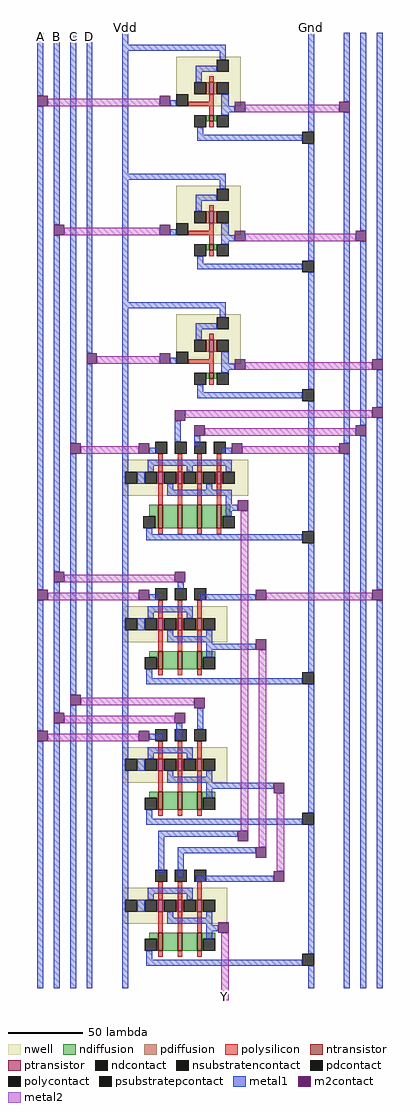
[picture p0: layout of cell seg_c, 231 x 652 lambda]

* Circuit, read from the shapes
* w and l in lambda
.subckt seg_c A B C D Gnd Vdd Y
M1 n1 n2 Gnd Gnd nfet w=12 l=3
M2 n3 A Gnd Gnd nfet w=12 l=3
M3 n4 A Gnd Gnd nfet w=12 l=3
M4 n5 C Gnd Gnd nfet w=16 l=3
M5 n6 n7 n1 Gnd nfet w=12 l=3
M6 n8 B n3 Gnd nfet w=12 l=3
M7 n9 B n4 Gnd nfet w=12 l=3
M8 n10 n11 n5 Gnd nfet w=16 l=3
M9 Y n12 n6 Gnd nfet w=12 l=3
M10 n12 C n8 Gnd nfet w=12 l=3
M11 n7 n11 n9 Gnd nfet w=12 l=3
M12 n13 n14 n10 Gnd nfet w=16 l=3
M13 n11 D Gnd Gnd nfet w=4 l=3
M14 n14 B Gnd Gnd nfet w=4 l=3
M15 n15 A Gnd Gnd nfet w=4 l=3
M16 n2 n15 n13 Gnd nfet w=16 l=3
M17 Y n2 Vdd Vdd pfet w=8 l=3
M18 n12 A Vdd Vdd pfet w=8 l=3
M19 n7 A Vdd Vdd pfet w=8 l=3
M20 n2 C Vdd Vdd pfet w=8 l=3
M21 Vdd n7 Y Vdd pfet w=8 l=3
M22 Vdd B n12 Vdd pfet w=8 l=3
M23 Vdd B n7 Vdd pfet w=8 l=3
M24 Vdd n11 n2 Vdd pfet w=8 l=3
M25 Y n12 Vdd Vdd pfet w=8 l=3
M26 n12 C Vdd Vdd pfet w=8 l=3
M27 n7 n11 Vdd Vdd pfet w=8 l=3
M28 n2 n14 Vdd Vdd pfet w=8 l=3
M29 n11 D Vdd Vdd pfet w=8 l=3
M30 n14 B Vdd Vdd pfet w=8 l=3
M31 n15 A Vdd Vdd pfet w=8 l=3
M32 Vdd n15 n2 Vdd pfet w=8 l=3
.ends

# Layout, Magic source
magic
tech tsmc
<< metal1 >>
rect 0 86 4 92
rect 124 86 128 92
rect -57 44 -53 86
rect -57 -286 -53 37
rect -46 -42 -42 86
rect -46 -274 -42 -49
rect -35 -188 -31 86
rect -24 -128 -20 86
rect 32 37 36 41
rect 148 40 152 86
rect 71 33 75 37
rect 32 -49 36 -45
rect 66 -53 75 -49
rect 32 -135 36 -131
rect -57 -380 -53 -293
rect -46 -368 -42 -281
rect -35 -356 -31 -195
rect -57 -552 -53 -387
rect -46 -552 -42 -375
rect -35 -552 -31 -363
rect -24 -552 -20 -135
rect 66 -139 75 -135
rect 35 -187 39 -173
rect 48 -190 52 -183
rect 148 -188 152 33
rect 159 -46 163 86
rect 159 -176 163 -53
rect 170 -132 174 86
rect 170 -164 174 -139
rect 18 -195 23 -191
rect 66 -195 73 -191
rect 72 -233 77 -229
rect 37 -286 41 -281
rect 18 -293 24 -289
rect 52 -293 89 -289
rect 59 -326 89 -322
rect 18 -386 27 -382
rect 36 -386 40 -375
rect 50 -379 54 -365
rect 60 -419 101 -415
rect 24 -451 77 -447
rect 24 -475 28 -451
rect 37 -462 89 -458
rect 37 -478 41 -462
rect 49 -481 101 -477
rect 56 -514 64 -510
rect 148 -552 152 -195
rect 159 -552 163 -183
rect 170 -286 174 -171
rect 170 -552 174 -293
<< m2contact >>
rect -57 37 -50 44
rect -46 -49 -39 -42
rect 25 37 32 44
rect 75 33 82 40
rect 145 33 152 40
rect 25 -49 32 -42
rect 75 -53 82 -46
rect -24 -135 -17 -128
rect 25 -135 32 -128
rect -35 -195 -28 -188
rect -46 -281 -39 -274
rect -57 -293 -50 -286
rect -35 -363 -28 -356
rect -46 -375 -39 -368
rect -57 -387 -50 -380
rect 75 -139 82 -132
rect 35 -173 42 -166
rect 48 -183 55 -176
rect 11 -195 18 -188
rect 156 -53 163 -46
rect 167 -139 174 -132
rect 167 -171 174 -164
rect 156 -183 163 -176
rect 73 -195 80 -188
rect 145 -195 152 -188
rect 77 -233 84 -226
rect 35 -281 42 -274
rect 11 -293 18 -286
rect 89 -293 96 -286
rect 89 -326 96 -319
rect 48 -365 55 -358
rect 35 -375 42 -368
rect 11 -387 18 -380
rect 101 -422 108 -415
rect 77 -454 84 -447
rect 89 -465 96 -458
rect 101 -481 108 -474
rect 64 -515 71 -508
rect 167 -293 174 -286
<< metal2 >>
rect -50 37 25 42
rect 82 33 145 38
rect -39 -49 25 -44
rect 82 -53 156 -48
rect -17 -135 25 -130
rect 82 -139 167 -134
rect 42 -171 167 -166
rect 55 -183 156 -178
rect -28 -195 11 -190
rect 80 -195 145 -190
rect -39 -281 35 -276
rect -50 -293 11 -288
rect -28 -363 48 -358
rect -39 -375 35 -370
rect -50 -387 11 -382
rect 79 -447 84 -233
rect 96 -293 167 -288
rect 91 -458 96 -326
rect 103 -474 108 -422
rect 66 -560 71 -515
use 1INV  1INV_0
transform 1 0 49 0 1 20
box -49 -20 79 66
use 1INV  1INV_1
transform 1 0 49 0 1 -66
box -49 -20 79 66
use 1INV  1INV_2
transform 1 0 49 0 1 -152
box -49 -20 79 66
use 4NAND  4NAND_0
transform 1 0 18 0 1 -215
box -18 -55 110 43
use 3NAND  3NAND_0
transform 1 0 18 0 1 -313
box -18 -51 110 43
use 3NAND  3NAND_1
transform 1 0 18 0 1 -407
box -18 -51 110 43
use 3NAND  3NAND_2
transform 1 0 18 0 1 -501
box -18 -51 110 43
<< labels >>
rlabel metal1 -57 81 -53 86 3 A
rlabel metal1 -46 81 -42 86 1 B
rlabel metal1 -35 81 -31 86 1 C
rlabel metal1 -24 81 -20 86 1 D
rlabel metal1 0 87 4 92 5 Vdd
rlabel metal1 124 87 128 92 5 Gnd
rlabel metal2 66 -560 71 -555 1 Y
<< end >>

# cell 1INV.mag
magic
tech tsmc
<< nwell >>
rect -13 17 30 50
<< ntransistor >>
rect 9 7 12 11
<< ptransistor >>
rect 9 25 12 33
<< ndiffusion >>
rect 7 7 9 11
rect 12 7 14 11
<< pdiffusion >>
rect 7 25 9 33
rect 12 25 14 33
<< ndcontact >>
rect -1 3 7 11
rect 14 3 22 11
<< pdcontact >>
rect -1 25 7 33
rect 14 25 22 33
<< psubstratepcontact >>
rect 71 -8 79 0
<< nsubstratencontact >>
rect 14 40 22 48
<< polysilicon >>
rect 9 33 12 37
rect 9 20 12 25
rect -5 17 12 20
rect 9 11 12 17
rect 9 3 12 7
<< polycontact >>
rect -13 17 -5 25
<< metal1 >>
rect -49 58 -45 66
rect -49 54 20 58
rect -49 -20 -45 54
rect 16 48 20 54
rect 0 40 14 44
rect 0 33 4 40
rect 17 11 22 25
rect 1 -2 5 3
rect 75 0 79 66
rect 1 -6 71 -2
rect 75 -20 79 -8
<< end >>

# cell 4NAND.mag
magic
tech tsmc
<< nwell >>
rect -18 -8 66 16
<< ntransistor >>
rect 6 -30 9 -14
rect 19 -30 22 -14
rect 32 -30 35 -14
rect 45 -30 48 -14
<< ptransistor >>
rect 6 0 9 8
rect 19 0 22 8
rect 32 0 35 8
rect 45 0 48 8
<< ndiffusion >>
rect 0 -22 6 -14
rect 4 -30 6 -22
rect 9 -30 19 -14
rect 22 -30 32 -14
rect 35 -30 45 -14
rect 48 -22 54 -14
rect 48 -30 49 -22
<< pdiffusion >>
rect 5 0 6 8
rect 9 0 10 8
rect 18 0 19 8
rect 22 0 23 8
rect 31 0 32 8
rect 35 0 36 8
rect 44 0 45 8
rect 48 0 49 8
<< ndcontact >>
rect -4 -30 4 -22
rect 49 -30 57 -22
<< pdcontact >>
rect -3 0 5 8
rect 10 0 18 8
rect 23 0 31 8
rect 36 0 44 8
rect 49 0 57 8
<< psubstratepcontact >>
rect 102 -40 110 -32
<< nsubstratencontact >>
rect -16 0 -8 8
<< polysilicon >>
rect 6 8 9 20
rect 19 8 22 20
rect 32 8 35 20
rect 45 8 48 20
rect 6 -14 9 0
rect 19 -14 22 0
rect 32 -14 35 0
rect 45 -14 48 0
rect 6 -34 9 -30
rect 19 -34 22 -30
rect 32 -34 35 -30
rect 45 -34 48 -30
<< polycontact >>
rect 4 20 12 28
rect 17 20 25 28
rect 30 20 38 28
rect 43 20 51 28
<< metal1 >>
rect -18 8 -14 43
rect -1 12 55 16
rect -1 8 3 12
rect 25 8 29 12
rect 51 8 55 12
rect -18 0 -16 8
rect -8 0 -3 8
rect -18 -55 -14 0
rect 12 -4 16 0
rect 38 -4 42 0
rect 12 -8 55 -4
rect 51 -22 55 -8
rect -2 -34 2 -30
rect 106 -32 110 43
rect -2 -38 102 -34
rect 106 -55 110 -40
<< end >>

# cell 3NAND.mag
magic
tech tsmc
<< nwell >>
rect -18 -8 52 16
<< ntransistor >>
rect 6 -26 9 -14
rect 19 -26 22 -14
rect 32 -26 35 -14
<< ptransistor >>
rect 6 0 9 8
rect 19 0 22 8
rect 32 0 35 8
<< ndiffusion >>
rect 0 -18 6 -14
rect 5 -26 6 -18
rect 9 -26 19 -14
rect 22 -26 32 -14
rect 35 -18 44 -14
rect 35 -26 36 -18
<< pdiffusion >>
rect 5 0 6 8
rect 9 0 10 8
rect 18 0 19 8
rect 22 0 23 8
rect 31 0 32 8
rect 35 0 36 8
<< ndcontact >>
rect -3 -26 5 -18
rect 36 -26 44 -18
<< pdcontact >>
rect -3 0 5 8
rect 10 0 18 8
rect 23 0 31 8
rect 36 0 44 8
<< psubstratepcontact >>
rect 102 -36 110 -28
<< nsubstratencontact >>
rect -16 0 -8 8
<< polysilicon >>
rect 6 8 9 20
rect 19 8 22 20
rect 32 8 35 20
rect 6 -14 9 0
rect 19 -14 22 0
rect 32 -14 35 0
rect 6 -30 9 -26
rect 19 -30 22 -26
rect 32 -30 35 -26
<< polycontact >>
rect 4 20 12 28
rect 17 20 25 28
rect 30 20 38 28
<< metal1 >>
rect -18 8 -14 43
rect -1 12 29 16
rect -1 8 3 12
rect 25 8 29 12
rect -18 0 -16 8
rect -8 0 -3 8
rect -18 -51 -14 0
rect 12 -4 16 0
rect 38 -4 42 0
rect 12 -8 42 -4
rect 38 -18 42 -8
rect -2 -32 2 -26
rect 106 -28 110 43
rect -2 -36 102 -32
rect 106 -51 110 -36
<< end >>
